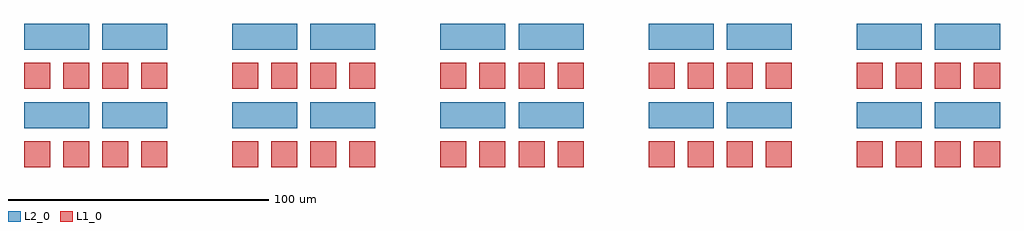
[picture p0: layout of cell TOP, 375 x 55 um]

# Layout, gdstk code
import gdstk
lib = gdstk.Library(unit=1e-6, precision=1e-09)
def R(c, l, rs):  # rectangles x0, y0, x1, y1
    for r in rs: c.add(gdstk.rectangle(r[:2], r[2:], *l))
L1_0 = (1, 0)
L2_0 = (2, 0)

unit = lib.new_cell('UNIT')
R(unit, L1_0, [(0,0,10,10), (15,0,25,10)])
R(unit, L2_0, [(0,15,25,25)])

block = lib.new_cell('BLOCK')
block.add(gdstk.Reference(unit, (0,0)))
block.add(gdstk.Reference(unit, (0,30)))
block.add(gdstk.Reference(unit, (30,0)))
block.add(gdstk.Reference(unit, (30,30)))

top = lib.new_cell('TOP')
top.add(gdstk.Reference(block, (0,0)))
top.add(gdstk.Reference(block, (80,0)))
top.add(gdstk.Reference(block, (160,0)))
top.add(gdstk.Reference(block, (240,0)))
top.add(gdstk.Reference(block, (320,0)))

lib.write_gds('TOP.gds')
